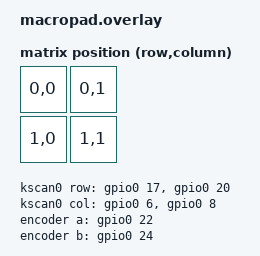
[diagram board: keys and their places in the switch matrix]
#include <dt-bindings/zmk/matrix_transform.h>
#include <physical_layouts.dtsi>

/ {
    chosen {
        zmk,kscan = &kscan0;
        zmk,physical-layout = &physical_layout;
    };

    physical_layout: physical_layout {
        compatible = "zmk,physical-layout";
        display-name = "Default Layout";
        transform = <&default_transform>;
        kscan = <&kscan0>;
        
        keys  // w   h    x    y     rot    rx    ry
            = <&key_physical_attrs 100 100    0    0       0     0     0>
            , <&key_physical_attrs 100 100  100    0       0     0     0>
            , <&key_physical_attrs 100 100    0  100       0     0     0>
            , <&key_physical_attrs 100 100  100  100       0     0     0>
            ;
    };

    kscan0: kscan {
        compatible = "zmk,kscan-gpio-matrix";
        wakeup-source;
        diode-direction = "col2row";
        
        col-gpios
            = <&gpio0 6 GPIO_ACTIVE_HIGH>   /* D1 */
            , <&gpio0 8 GPIO_ACTIVE_HIGH>   /* D0 */
            ;
        
        row-gpios
            = <&gpio0 17 (GPIO_ACTIVE_HIGH | GPIO_PULL_DOWN)> /* D2 */
            , <&gpio0 20 (GPIO_ACTIVE_HIGH | GPIO_PULL_DOWN)> /* D3 */
            ;
    };

    default_transform: keymap_transform_0 {
        compatible = "zmk,matrix-transform";
        columns = <2>;
        rows = <2>;
        map = <
            RC(0,0) RC(0,1)
            RC(1,0) RC(1,1)
        >;
    };

    encoder: encoder {
        compatible = "alps,ec11";
        a-gpios = <&gpio0 22 (GPIO_ACTIVE_HIGH | GPIO_PULL_UP)>; /* D4 */
        b-gpios = <&gpio0 24 (GPIO_ACTIVE_HIGH | GPIO_PULL_UP)>; /* D5 */
        steps = <80>;
        status = "okay";
    };

    sensors: sensors {
        compatible = "zmk,keymap-sensors";
        sensors = <&encoder>;
        triggers-per-rotation = <20>;
    };
};
